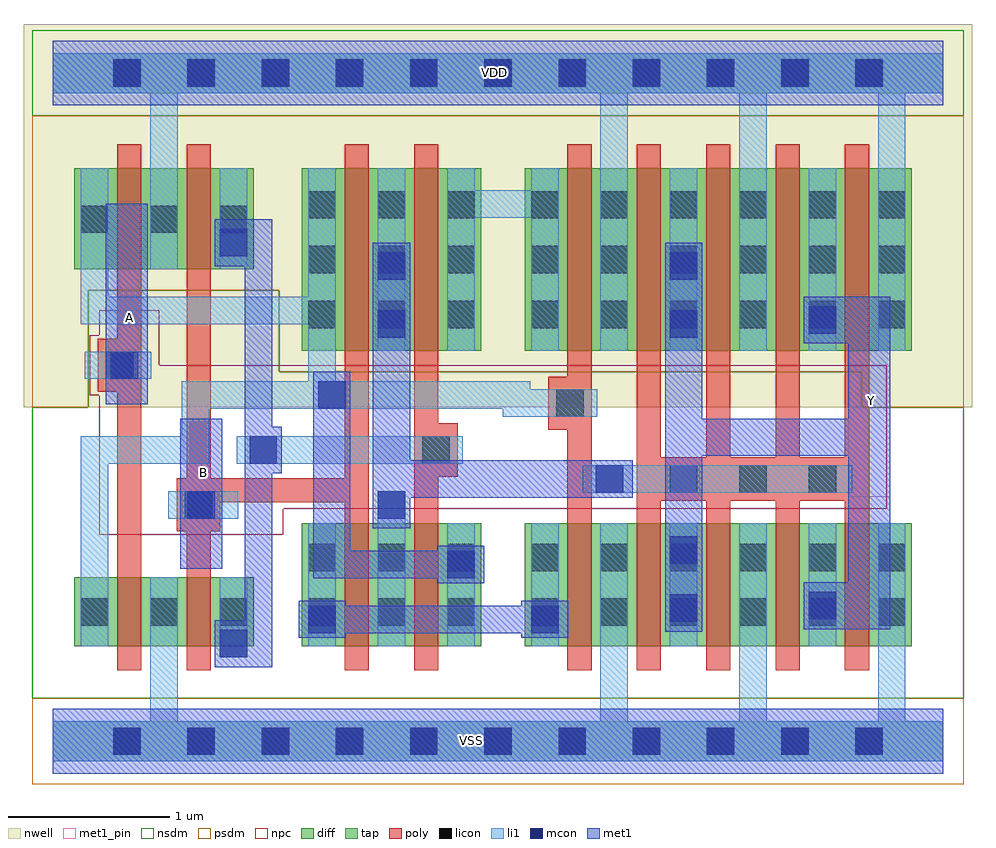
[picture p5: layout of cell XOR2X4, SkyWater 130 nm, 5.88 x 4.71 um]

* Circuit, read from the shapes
.subckt XOR2X4 A B VDD VSS Y
XM1 VSS A n1 VSS sky130_fd_pr__nfet_01v8 w=0.425 l=0.15
XM2 n2 B VSS VSS sky130_fd_pr__nfet_01v8 w=0.425 l=0.15
XM3 n3 B n4 VSS sky130_fd_pr__nfet_01v8 w=0.76 l=0.15
XM4 n1 n2 n3 VSS sky130_fd_pr__nfet_01v8 w=0.76 l=0.15
XM5 VSS n1 n4 VSS sky130_fd_pr__nfet_01v8 w=0.76 l=0.15
XM6 Y n3 VSS VSS sky130_fd_pr__nfet_01v8 w=0.76 l=0.15 m=4
XM7 VDD A n1 VDD sky130_fd_pr__pfet_01v8 w=0.625 l=0.15
XM8 n2 B VDD VDD sky130_fd_pr__pfet_01v8 w=0.625 l=0.15
XM9 n3 B n1 VDD sky130_fd_pr__pfet_01v8 w=1.13 l=0.15
XM10 n5 n2 n3 VDD sky130_fd_pr__pfet_01v8 w=1.13 l=0.15
XM11 VDD n1 n5 VDD sky130_fd_pr__pfet_01v8 w=1.13 l=0.15
XM12 Y n3 VDD VDD sky130_fd_pr__pfet_01v8 w=1.13 l=0.15 m=4
.ends

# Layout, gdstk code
from math import pi, radians
import gdstk
lib = gdstk.Library(unit=1e-6, precision=1e-09)
def R(c, l, rs):  # rectangles x0, y0, x1, y1
    for r in rs: c.add(gdstk.rectangle(r[:2], r[2:], *l))
def A(c, l, x, y, w, h, nx, ny, dx, dy):  # array of equal rectangles
    R(c, l, [(x+i*dx, y+j*dy, x+i*dx+w, y+j*dy+h) for i in range(nx) for j in range(ny)])
def P(c, l, *ps):  # polygons
    for p in ps: c.add(gdstk.Polygon(p, *l))
nwell = (64, 20)
diff = (65, 20)
tap = (65, 44)
poly = (66, 20)
licon = (66, 44)
li1 = (67, 20)
mcon = (67, 44)
met1_pin = (68, 16)
met1 = (68, 20)
nsdm = (93, 44)
psdm = (94, 20)
npc = (95, 20)

l1m1_c_cdns_751554744750 = lib.new_cell('L1M1_C_CDNS_751554744750')
R(l1m1_c_cdns_751554744750, li1, [(-0.165,-0.085,0.165,0.085)])
R(l1m1_c_cdns_751554744750, mcon, [(-0.085,-0.085,0.085,0.085)])
R(l1m1_c_cdns_751554744750, met1, [(-0.115,-0.145,0.115,0.145)])

l1m1_c_cdns_751554744753 = lib.new_cell('L1M1_C_CDNS_751554744753')
R(l1m1_c_cdns_751554744753, li1, [(-0.085,-0.165,0.085,0.165)])
R(l1m1_c_cdns_751554744753, mcon, [(-0.085,-0.085,0.085,0.085)])
R(l1m1_c_cdns_751554744753, met1, [(-0.115,-0.145,0.115,0.145)])

pyl1con_c_cdns_751554744 = lib.new_cell('PYL1CON_C_CDNS_751554744751')
R(pyl1con_c_cdns_751554744, poly, [(-0.135,-0.165,0.135,0.165)])
R(pyl1con_c_cdns_751554744, licon, [(-0.085,-0.085,0.085,0.085)])
R(pyl1con_c_cdns_751554744, npc, [(-0.185,-0.185,0.185,0.185)])

l1m1_c_cdns_751554744758 = lib.new_cell('L1M1_C_CDNS_751554744758')
R(l1m1_c_cdns_751554744758, li1, [(-0.085,-0.165,0.085,0.165)])
R(l1m1_c_cdns_751554744758, mcon, [(-0.085,-0.085,0.085,0.085)])
R(l1m1_c_cdns_751554744758, met1, [(-0.145,-0.115,0.145,0.115)])

l1m1_c_cdns_751554744752 = lib.new_cell('L1M1_C_CDNS_751554744752')
R(l1m1_c_cdns_751554744752, li1, [(-0.085,-0.345,0.085,0.345)])
R(l1m1_c_cdns_751554744752, mcon, [(-0.085,-0.265,0.085,-0.095), (-0.085,0.095,0.085,0.265)])
R(l1m1_c_cdns_751554744752, met1, [(-0.115,-0.325,0.115,0.325)])

l1m1_c_cdns_751554744759 = lib.new_cell('L1M1_C_CDNS_751554744759')
R(l1m1_c_cdns_751554744759, li1, [(-0.165,-0.085,0.165,0.085)])
R(l1m1_c_cdns_751554744759, mcon, [(-0.085,-0.085,0.085,0.085)])
R(l1m1_c_cdns_751554744759, met1, [(-0.145,-0.115,0.145,0.115)])

l1m1_c_cdns_751554744751 = lib.new_cell('L1M1_C_CDNS_7515547447510')
R(l1m1_c_cdns_751554744751, li1, [(-0.085,-0.085,0.085,0.085)])
R(l1m1_c_cdns_751554744751, mcon, [(-0.085,-0.085,0.085,0.085)])
R(l1m1_c_cdns_751554744751, met1, [(-0.115,-0.145,0.115,0.145)])

c_l1m1_c_cdns_751554744751 = lib.new_cell('L1M1_C_CDNS_7515547447511')
R(c_l1m1_c_cdns_751554744751, li1, [(-0.085,-0.085,0.085,0.165)])
R(c_l1m1_c_cdns_751554744751, mcon, [(-0.085,-0.085,0.085,0.085)])
R(c_l1m1_c_cdns_751554744751, met1, [(-0.115,-0.145,0.115,0.145)])

xor2x4 = lib.new_cell('XOR2X4')
R(xor2x4, nwell, [(-0.18,2.07,5.7,4.445)])
R(xor2x4, diff, [(0.135,0.59,1.245,1.015), (1.545,0.59,2.655,1.35), (2.925,0.59,5.325,1.35), (1.545,2.42,2.655,3.55), (2.925,2.42,5.325,3.55), (0.135,2.925,1.245,3.55)])
A(xor2x4, poly, 3.19, 0.44, 0.15, 3.26, 5, 1, 0.43, 0)
R(xor2x4, poly, [(0.4,0.44,0.55,3.7), (2.24,0.44,2.39,3.7)])
P(xor2x4, poly, [(1.96,3.7),(1.81,3.7),(1.81,1.63),(0.98,1.63),(0.98,3.7),(0.83,3.7),(0.83,1.63),(0.77,1.63),(0.77,1.48),(0.83,1.48),(0.83,0.44),(0.98,0.44),(0.98,1.48),(1.81,1.48),(1.81,0.44),(1.96,0.44)])
A(xor2x4, licon, 0.375, -0.085, 0.17, 0.17, 11, 2, 0.46, 4.14)
A(xor2x4, licon, 0.175, 0.715, 0.17, 0.17, 3, 2, 0.43, 2.435)
A(xor2x4, licon, 1.585, 0.715, 0.17, 0.17, 3, 2, 0.43, 0.34)
A(xor2x4, licon, 2.965, 0.715, 0.17, 0.17, 6, 2, 0.43, 0.34)
A(xor2x4, licon, 1.585, 2.56, 0.17, 0.17, 3, 3, 0.43, 0.34)
A(xor2x4, licon, 2.965, 2.56, 0.17, 0.17, 6, 3, 0.43, 0.34)
A(xor2x4, li1, 2.965, 0.59, 0.17, 0.76, 3, 1, 0.86, 0)
R(xor2x4, li1, [(1.035,0.59,1.205,1.015), (1.585,0.59,1.755,1.35), (2.015,0.59,2.185,1.55), (2.445,0.59,2.615,1.35), (2.015,2.42,2.185,3.55), (3.825,2.42,3.995,3.55), (4.685,2.42,4.855,3.55), (1.035,2.925,1.205,3.55)])
P(xor2x4, li1, [(3.135,3.55),(2.965,3.55),(2.965,3.415),(2.615,3.415),(2.615,3.55),(2.445,3.55),(2.445,2.42),(2.615,2.42),(2.615,3.245),(2.965,3.245),(2.965,2.42),(3.135,2.42)],
  [(3.375,2.18),(2.96,2.18),(2.96,2.23),(1.755,2.23),(1.755,3.55),(1.585,3.55),(1.585,2.755),(0.345,2.755),(0.345,3.55),(0.175,3.55),(0.175,2.585),(1.585,2.585),(1.585,2.23),(0.8,2.23),(0.8,1.89),(0.175,1.89),(0.175,0.59),(0.345,0.59),(0.345,1.72),(0.97,1.72),(0.97,2.06),(2.79,2.06),(2.79,2.01),(3.375,2.01)],
  [(5.52,4.265),(0,4.265),(0,4.015),(0.605,4.015),(0.605,2.925),(0.775,2.925),(0.775,4.015),(3.395,4.015),(3.395,2.42),(3.565,2.42),(3.565,4.015),(4.255,4.015),(4.255,2.42),(4.425,2.42),(4.425,4.015),(5.115,4.015),(5.115,2.42),(5.285,2.42),(5.285,4.015),(5.52,4.015)],
  [(5.52,0.125),(5.285,0.125),(5.285,1.35),(5.115,1.35),(5.115,0.125),(4.425,0.125),(4.425,1.35),(4.255,1.35),(4.255,0.125),(3.565,0.125),(3.565,1.35),(3.395,1.35),(3.395,0.125),(0.775,0.125),(0.775,1.015),(0.605,1.015),(0.605,0.125),(0,0.125),(0,-0.125),(5.52,-0.125)])
A(xor2x4, mcon, 0.375, -0.085, 0.17, 0.17, 11, 2, 0.46, 4.14)
R(xor2x4, met1_pin, [(0.79,1.07,1.05,2), (4.93,1.515,5.19,2.755), (0.33,2.09,0.59,3.33)])
P(xor2x4, met1, [(1.36,3.235),(1.005,3.235),(1.005,2.945),(1.19,2.945),(1.19,0.75),(1.12,0.75),(1.12,0.46),(1.36,0.46)],
  [(2.645,1.18),(1.845,1.18),(1.845,2.145),(1.615,2.145),(1.615,1.01),(2.645,1.01)],
  [(3.595,1.74),(2.215,1.74),(2.215,3.09),(1.985,3.09),(1.985,1.32),(2.215,1.32),(2.215,1.51),(3.595,1.51)],
  [(5.19,2.755),(4.77,2.755),(4.77,2.465),(4.93,2.465),(4.93,2),(4.025,2),(4.025,3.09),(3.795,3.09),(3.795,0.68),(4.025,0.68),(4.025,1.77),(4.93,1.77),(4.93,0.985),(4.77,0.985),(4.77,0.865),(4.755,0.865),(4.755,0.695),(5.19,0.695)])
R(xor2x4, nsdm, [(-0.125,3.875,5.645,4.405)])
P(xor2x4, nsdm, [(5.645,2.07),(5.015,2.07),(5.015,2.29),(1.405,2.29),(1.405,2.795),(0.22,2.795),(0.22,2.07),(-0.125,2.07),(-0.125,0.265),(5.645,0.265)])
R(xor2x4, psdm, [(-0.125,-0.265,5.645,0.265)])
P(xor2x4, psdm, [(5.645,3.875),(-0.125,3.875),(-0.125,2.07),(0.22,2.07),(0.22,2.795),(1.405,2.795),(1.405,2.29),(5.015,2.29),(5.015,2.07),(5.645,2.07)])
P(xor2x4, npc, [(5.17,2.33),(0.66,2.33),(0.66,2.67),(0.29,2.67),(0.29,1.28),(1.43,1.28),(1.43,1.44),(5.17,1.44)])
xor2x4.add(gdstk.FlexPath([(4.955,1.625),(3.285,1.625)], 0.17, ends="flush", simple_path=True, layer=67, datatype=20))  # li1
xor2x4.add(gdstk.FlexPath([(2.54,1.805),(1.14,1.805)], 0.17, ends="flush", simple_path=True, layer=67, datatype=20))  # li1
xor2x4.add(gdstk.FlexPath([(0.715,1.465),(1.15,1.465)], 0.17, ends="flush", simple_path=True, layer=67, datatype=20))  # li1
xor2x4.add(gdstk.FlexPath([(0.445,2.33),(0.2,2.33)], 0.17, ends="flush", simple_path=True, layer=67, datatype=20))  # li1
xor2x4.add(gdstk.FlexPath([(1.815,0.755),(3.195,0.755)], 0.17, ends="flush", simple_path=True, layer=68, datatype=20))  # met1
xor2x4.add(gdstk.FlexPath([(0.92,1.07),(0.92,2)], 0.26, ends="flush", simple_path=True, layer=68, datatype=20))  # met1
xor2x4.add(gdstk.FlexPath([(0,4.14),(5.52,4.14)], 0.4, ends="flush", simple_path=True, layer=68, datatype=20))  # met1
xor2x4.add(gdstk.FlexPath([(0,0),(5.52,0)], 0.4, ends="flush", simple_path=True, layer=68, datatype=20))  # met1
xor2x4.add(gdstk.FlexPath([(0.46,2.09),(0.46,3.33)], 0.26, ends="flush", simple_path=True, layer=68, datatype=20))  # met1
xor2x4.add(gdstk.FlexPath([(0,4.14),(5.52,4.14)], 0.25, ends="flush", simple_path=True, layer=65, datatype=44))  # tap
xor2x4.add(gdstk.FlexPath([(0,0),(5.52,0)], 0.25, ends="flush", simple_path=True, layer=65, datatype=44))  # tap
xor2x4.add(gdstk.FlexPath([(0,4.14),(5.52,4.14)], 0.4, ends="flush", simple_path=True, layer=68, datatype=16))  # met1_pin
xor2x4.add(gdstk.FlexPath([(0,0),(5.52,0)], 0.4, ends="flush", simple_path=True, layer=68, datatype=16))  # met1_pin
xor2x4.add(gdstk.Reference(l1m1_c_cdns_751554744750, (0.92,1.465), x_reflection=True))
xor2x4.add(gdstk.Reference(l1m1_c_cdns_751554744750, (0.445,2.33), x_reflection=True))
xor2x4.add(gdstk.Reference(l1m1_c_cdns_751554744750, (1.73,2.145)))
xor2x4.add(gdstk.Reference(l1m1_c_cdns_751554744753, (4.77,2.61)))
xor2x4.add(gdstk.Reference(l1m1_c_cdns_751554744753, (4.77,0.84)))
xor2x4.add(gdstk.Reference(l1m1_c_cdns_751554744753, (1.12,3.09)))
xor2x4.add(gdstk.Reference(pyl1con_c_cdns_751554744, (2.375,1.805), x_reflection=True))
xor2x4.add(gdstk.Reference(pyl1con_c_cdns_751554744, (4.77,1.625), rotation=3*pi/2, x_reflection=True))
xor2x4.add(gdstk.Reference(pyl1con_c_cdns_751554744, (4.34,1.625), rotation=3*pi/2, x_reflection=True))
xor2x4.add(gdstk.Reference(pyl1con_c_cdns_751554744, (3.91,1.625), rotation=3*pi/2, x_reflection=True))
xor2x4.add(gdstk.Reference(pyl1con_c_cdns_751554744, (3.205,2.095), x_reflection=True))
xor2x4.add(gdstk.Reference(pyl1con_c_cdns_751554744, (0.905,1.465), rotation=pi, x_reflection=True))
xor2x4.add(gdstk.Reference(pyl1con_c_cdns_751554744, (0.415,2.33), rotation=pi, x_reflection=True))
xor2x4.add(gdstk.Reference(l1m1_c_cdns_751554744758, (3.05,0.755)))
xor2x4.add(gdstk.Reference(l1m1_c_cdns_751554744758, (1.67,0.755)))
xor2x4.add(gdstk.Reference(l1m1_c_cdns_751554744758, (2.53,1.095)))
xor2x4.add(gdstk.Reference(l1m1_c_cdns_751554744758, (1.305,1.805), rotation=pi/2))
xor2x4.add(gdstk.Reference(l1m1_c_cdns_751554744752, (2.1,2.765)))
xor2x4.add(gdstk.Reference(l1m1_c_cdns_751554744752, (3.91,2.765)))
xor2x4.add(gdstk.Reference(l1m1_c_cdns_751554744752, (3.91,1.005)))
xor2x4.add(gdstk.Reference(l1m1_c_cdns_751554744759, (3.45,1.625)))
xor2x4.add(gdstk.Reference(l1m1_c_cdns_751554744751, (2.1,1.465)))
xor2x4.add(gdstk.Reference(c_l1m1_c_cdns_751554744751, (1.12,0.605)))
xor2x4.add(gdstk.Label('VDD', (2.74,4.145), layer=68, texttype=5))
xor2x4.add(gdstk.Label('Y', (5.075,2.11), layer=68, texttype=5))
xor2x4.add(gdstk.Label('B', (0.935,1.665), layer=68, texttype=5))
xor2x4.add(gdstk.Label('VSS', (2.595,0.005), layer=68, texttype=5))
xor2x4.add(gdstk.Label('A', (0.475,2.625), layer=68, texttype=5))

lib.write_gds('XOR2X4.gds')
